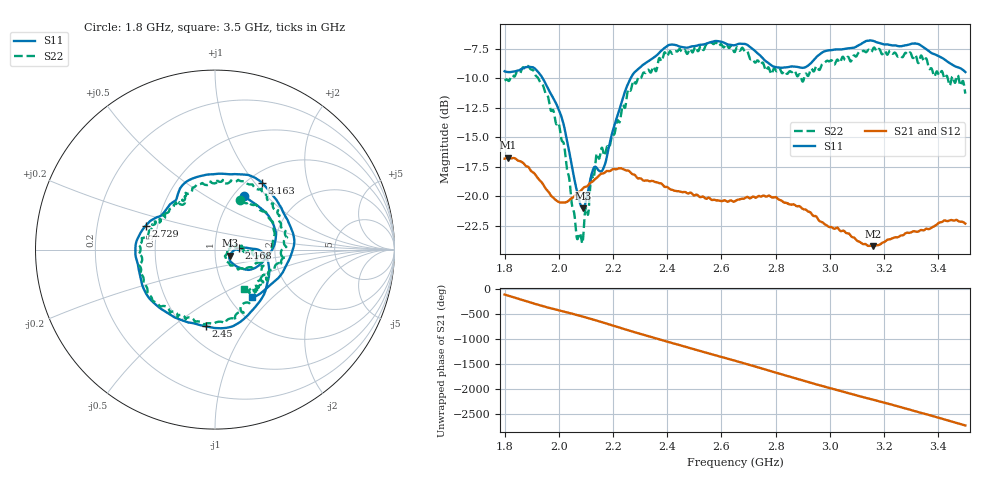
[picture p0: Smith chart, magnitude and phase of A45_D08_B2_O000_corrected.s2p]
! Created with skrf 1.9.0 (http://scikit-rf.org).
# Hz S RI R 50.0
!freq ReS11 ImS11 ReS21 ImS21 ReS12 ImS12 ReS22 ImS22
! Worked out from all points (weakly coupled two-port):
!   1601 points, 1.8 GHz to 3.5 GHz, reference 50 ohm
!   highest |S21| = -16.73 dB at 1.812 GHz (marker M1); lowest = -24.2 dB at 3.16 GHz (marker M2)
!   lowest |S11| = -21.0 dB at 2.089 GHz (marker M3), VSWR 1.20, Z = 58.9 - j3.93 ohm
!   |S11| at or under -10 dB: 1.941 GHz to 2.265 GHz (323.5 MHz wide, 15.4 % of centre)
!   |S22| runs from -24.0 to -6.9 dB; largest |S21 - S12| = 0.0028
!   S11 on the Smith chart (normalised r, x): 1.8 GHz: 1.12, +0.75; 2.168 GHz: 1.31, +0.02; 2.45 GHz: 0.63, -0.66; 2.729 GHz: 0.43, +0.14; 3.163 GHz: 1.16, +1.09; 3.5 GHz: 1.27, -0.76
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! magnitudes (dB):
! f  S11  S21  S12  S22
! 1.8 GHz  -9.4  -16.8  -16.8  -10.2
! 1.812 GHz  -9.5  -16.7  -16.7  -10.2
! 1.887 GHz  -9.0  -17.5  -17.6  -9.0
! 1.94 GHz  -10.0  -18.9  -18.9  -10.5
! 2.011 GHz  -13.4  -20.5  -20.5  -15.3
! 2.063 GHz  -19.2  -19.8  -19.8  -23.0
! 2.084 GHz  -20.9  -19.5  -19.4  -23.8
! 2.089 GHz  -21.0  -19.3  -19.4  -23.7
! 2.139 GHz  -17.6  -18.4  -18.4  -16.5
! 2.168 GHz  -17.4  -18.0  -18.0  -16.5
! 2.261 GHz  -10.2  -17.9  -17.9  -11.0
! 2.367 GHz  -7.9  -18.9  -18.8  -8.5
! 2.45 GHz  -7.3  -19.6  -19.6  -7.6
! 2.65 GHz  -7.2  -20.4  -20.4  -7.7
! 2.729 GHz  -7.8  -20.1  -20.1  -8.6
! 2.803 GHz  -9.0  -20.1  -20.1  -9.4
! 2.934 GHz  -8.6  -21.5  -21.5  -9.2
! 3.16 GHz  -6.8  -24.2  -24.2  -7.4
! 3.163 GHz  -6.8  -24.2  -24.2  -7.4
! 3.217 GHz  -7.1  -23.6  -23.6  -7.8
! 3.326 GHz  -7.1  -23.0  -23.0  -8.7
! 3.5 GHz  -9.5  -22.3  -22.3  -11.3
